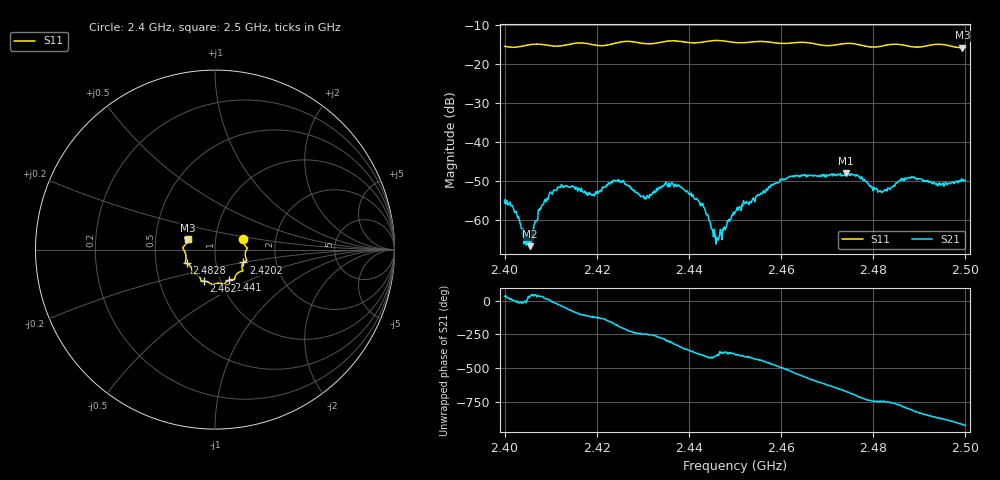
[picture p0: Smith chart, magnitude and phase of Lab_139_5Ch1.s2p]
# Hz S RI R 50
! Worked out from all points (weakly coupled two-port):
!   601 points, 2.4 GHz to 2.5 GHz, reference 50 ohm
!   highest |S21| = -47.97 dB at 2.474 GHz (marker M1); lowest = -66.6 dB at 2.4055 GHz (marker M2)
!   lowest |S11| = -15.8 dB at 2.4993 GHz (marker M3), VSWR 1.39, Z = 36.5 + j3.9 ohm
!   |S11| at or under -10 dB: start of sweep to end of sweep
!   S12 and S22 are empty: the file has one direction only
!   S11 on the Smith chart (normalised r, x): 2.4 GHz: 1.36, +0.17; 2.4202 GHz: 1.36, -0.20; 2.441 GHz: 1.10, -0.39; 2.462 GHz: 0.83, -0.30; 2.4828 GHz: 0.72, -0.11; 2.5 GHz: 0.73, +0.09
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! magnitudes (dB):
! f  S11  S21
! 2.4 GHz  -15.4  -55.6
! 2.4055 GHz  -15.0  -66.6
! 2.4078 GHz  -14.9  -57.1
! 2.4102 GHz  -15.3  -53.1
! 2.4167 GHz  -14.6  -51.7
! 2.4202 GHz  -15.2  -52.6
! 2.4242 GHz  -14.6  -49.9
! 2.4302 GHz  -14.7  -53.7
! 2.4333 GHz  -14.5  -52.1
! 2.4367 GHz  -14.0  -51.1
! 2.441 GHz  -14.5  -54.0
! 2.4432 GHz  -14.3  -56.7
! 2.4462 GHz  -13.9  -64.8
! 2.45 GHz  -14.4  -58.0
! 2.462 GHz  -14.6  -48.7
! 2.4667 GHz  -14.6  -48.5
! 2.474 GHz  -14.7  -48.0
! 2.4828 GHz  -15.1  -52.1
! 2.4833 GHz  -15.0  -51.8
! 2.4883 GHz  -15.5  -48.8
! 2.4993 GHz  -15.8  -49.8
! 2.5 GHz  -15.7  -49.7
